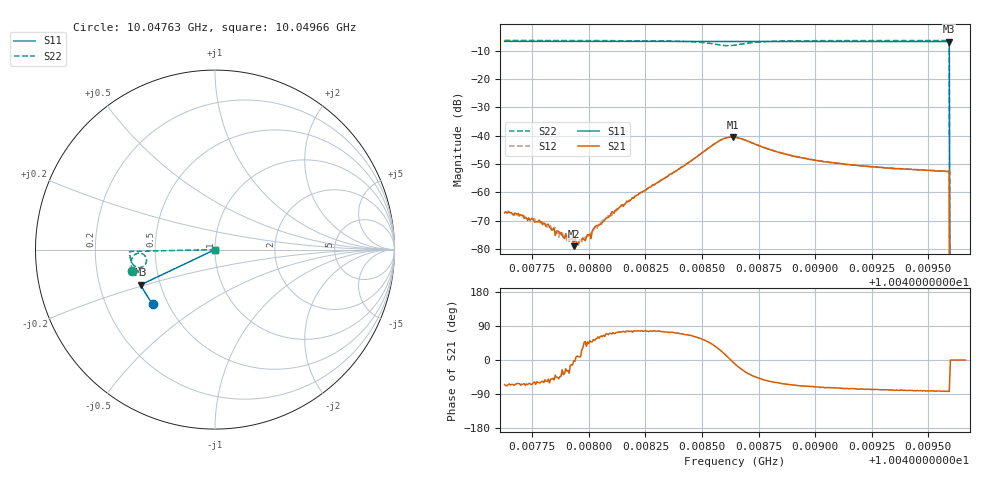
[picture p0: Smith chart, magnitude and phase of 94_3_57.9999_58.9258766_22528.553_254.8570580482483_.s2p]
#  HZ  S  RI  R  50.00
! Rohde & Schwarz Vector Network Analyzer
! Rohde-Schwarz,ZNB20-2Port,1311601062101988,3.16
! Created: UTC 3/21/2024, 12:54:26 AM
! freq[Hz]  re:S11  im:S11  re:S21  im:S21  re:S12  im:S12  re:S22  im:S22
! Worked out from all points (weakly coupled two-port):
!   401 points, 10.04763 GHz to 10.04966 GHz, reference 50 ohm
!   highest |S21| = -40.49 dB at 10.04864 GHz (marker M1); lowest = -79.0 dB at 10.04793 GHz (marker M2)
!   lowest |S11| = -6.8 dB at 10.04959 GHz (marker M3), VSWR 2.68, Z = 19.5 - j9.62 ohm
!   |S11| at or under -10 dB: 10.04959 GHz to end of sweep
!   |S22| runs from - to -6.4 dB; largest |S21 - S12| = 0.00065
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1.0047628e10  -0.3438 -0.3055  0.000184 -0.000396  0.000198 -0.000409  -0.4617 -0.1187
1.0047699e10  -0.3469 -0.3018  0.00016 -0.00037  0.000191 -0.000343  -0.4626 -0.1136
1.004776e10  -0.3495 -0.2987  0.000161 -0.000253  0.000171 -0.000297  -0.4636 -0.1089
1.0047811e10  -0.3514 -0.2958  0.000141 -0.000212  0.000157 -0.00019  -0.4641 -0.1049
1.0047842e10  -0.3529 -0.2943  0.00015 -0.000169  0.000147 -0.000156  -0.4647 -0.1025
1.0047933e10  -0.3566 -0.2895  0.000112 -4.1e-06  0.000114 -1.77e-05  -0.4657 -0.0952
1.0047943e10  -0.357 -0.289  0.000136 1.83e-05  0.000112 4.03e-05  -0.4657 -0.0944
1.0047969e10  -0.3579 -0.2876  0.000133 6.74e-05  0.000122 5.65e-05  -0.4659 -0.0924
1.0047999e10  -0.3592 -0.2861  0.000128 0.000121  0.000122 0.000121  -0.4661 -0.0897
1.004803e10  -0.3605 -0.2843  0.000144 0.00021  0.000127 0.000208  -0.4664 -0.0869
1.0048137e10  -0.3647 -0.2787  0.000145 0.000534  0.000115 0.000542  -0.4668 -0.0768
1.004831e10  -0.3713 -0.2692  0.00036 0.00148  0.000284 0.00153  -0.4646 -0.0567
1.004857e10  -0.38 -0.2545  0.00667 0.00406  0.00641 0.00448  -0.4019 -0.0247
1.0048636e10  -0.382 -0.251  0.00942 -0.000829  0.00947 -0.000211  -0.383 -0.0713
1.0048646e10  -0.3822 -0.2507  0.00919 -0.0017  0.00933 -0.00109  -0.3862 -0.0792
1.0048845e10  -0.3896 -0.2399  0.0024 -0.00438  0.0027 -0.00427  -0.4574 -0.0826
1.0048987e10  -0.3945 -0.2316  0.0013 -0.00353  0.00151 -0.00348  -0.4677 -0.063
1.0049328e10  -0.405 -0.2115  0.000486 -0.00263  0.000684 -0.00262  -0.4741 -0.0308
1.0049583e10  -0.4122 -0.1963  0.000311 -0.00231  0.000416 -0.00232  -0.4753 -0.0111
1.0049593e10  -0.4123 -0.1956  0.000288 -0.00231  0.000431 -0.00231  -0.4754 -0.0103
1.0049608e10  0 0  0 0  0 0  0 0
1.0049664e10  0 0  0 0  0 0  0 0
